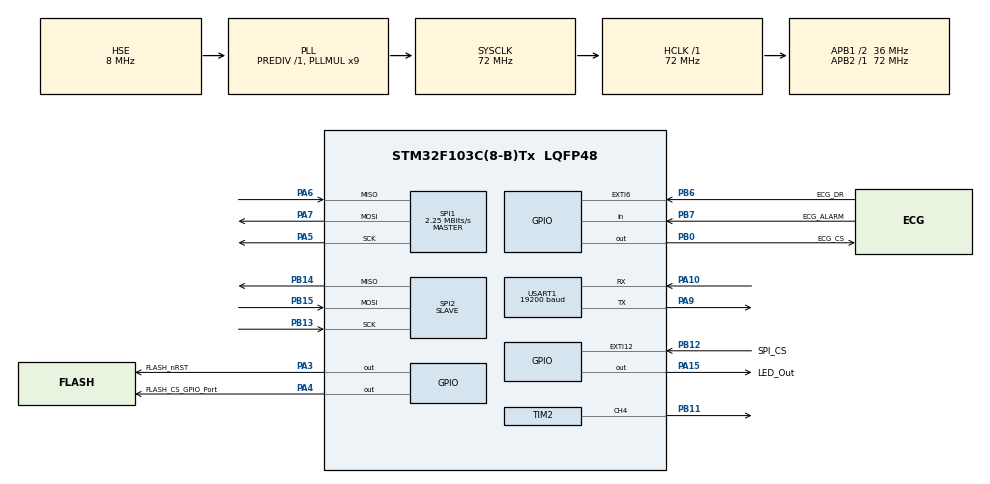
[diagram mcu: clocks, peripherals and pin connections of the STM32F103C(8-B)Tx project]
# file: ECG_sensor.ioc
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Mcu.Family=STM32F1
Mcu.Name=STM32F103C(8-B)Tx
Mcu.Package=LQFP48
NVIC.EXTI15_10_IRQn=true\:1\:0\:true\:false\:true\:true\:true\:true
NVIC.EXTI9_5_IRQn=true\:3\:0\:true\:false\:true\:true\:true\:true
NVIC.PriorityGroup=NVIC_PRIORITYGROUP_4
NVIC.SPI2_IRQn=true\:2\:0\:true\:false\:true\:true\:true\:true
NVIC.TIM3_IRQn=true\:3\:0\:true\:false\:true\:true\:true\:true
NVIC.USART1_IRQn=true\:4\:0\:true\:false\:true\:true\:true\:true
PA0-WKUP.Signal=S_TIM2_CH1_ETR
PA10.Mode=Asynchronous
PA10.Signal=USART1_RX
PA13.Mode=Serial_Wire
PA13.Signal=SYS_JTMS-SWDIO
PA14.Mode=Serial_Wire
PA14.Signal=SYS_JTCK-SWCLK
PA15.GPIO_Label=LED_Out
PA15.Signal=GPIO_Output
PA3.GPIO_Label=FLASH_nRST
PA3.Signal=GPIO_Output
PA4.GPIO_Label=FLASH_CS_GPIO_Port
PA4.Signal=GPIO_Output
PA5.Mode=Full_Duplex_Master
PA5.Signal=SPI1_SCK
PA6.Mode=Full_Duplex_Master
PA6.Signal=SPI1_MISO
PA7.Mode=Full_Duplex_Master
PA7.Signal=SPI1_MOSI
PA9.Mode=Asynchronous
PA9.Signal=USART1_TX
PB0.GPIO_Label=ECG_CS
PB0.Signal=GPIO_Output
PB11.Signal=S_TIM2_CH4
PB12.GPIO_Label=SPI_CS
PB12.GPIO_ModeDefaultEXTI=GPIO_MODE_IT_RISING_FALLING
PB12.Signal=GPXTI12
PB13.Mode=Full_Duplex_Slave
PB13.Signal=SPI2_SCK
PB14.Mode=Full_Duplex_Slave
PB14.Signal=SPI2_MISO
PB15.Mode=Full_Duplex_Slave
PB15.Signal=SPI2_MOSI
PB6.GPIO_Label=ECG_DR
PB6.GPIO_ModeDefaultEXTI=GPIO_MODE_IT_FALLING
PB6.GPIO_PuPd=GPIO_PULLUP
PB6.Signal=GPXTI6
PB7.GPIO_Label=ECG_ALARM
PB7.Signal=GPIO_Input
PD0-OSC_IN.Mode=HSE-External-Oscillator
PD0-OSC_IN.Signal=RCC_OSC_IN
PD1-OSC_OUT.Mode=HSE-External-Oscillator
PD1-OSC_OUT.Signal=RCC_OSC_OUT
ProjectManager.HeapSize=0x200
ProjectManager.StackSize=0x400
ProjectManager.TargetToolchain=STM32CubeIDE
RCC.ADCPresc=RCC_ADCPCLK2_DIV6
RCC.AHBFreq_Value=72000000
RCC.APB1CLKDivider=RCC_HCLK_DIV2
RCC.APB1Freq_Value=36000000
RCC.APB1TimFreq_Value=72000000
RCC.APB2Freq_Value=72000000
RCC.APB2TimFreq_Value=72000000
RCC.HCLKFreq_Value=72000000
RCC.PLLMUL=RCC_PLL_MUL9
RCC.PLLSourceVirtual=RCC_PLLSOURCE_HSE
RCC.SYSCLKFreq_VALUE=72000000
RCC.SYSCLKSource=RCC_SYSCLKSOURCE_PLLCLK
RCC.USBFreq_Value=72000000
SH.S_TIM2_CH1_ETR.0=TIM2_CH1
SH.S_TIM2_CH4.0=TIM2_CH4,PWM Generation4 CH4
SPI1.BaudRatePrescaler=SPI_BAUDRATEPRESCALER_32
SPI1.CLKPhase=SPI_PHASE_1EDGE
SPI1.CalculateBaudRate=2.25 MBits/s
SPI1.Direction=SPI_DIRECTION_2LINES
SPI1.Mode=SPI_MODE_MASTER
SPI1.VirtualType=VM_MASTER
SPI2.Direction=SPI_DIRECTION_2LINES
SPI2.Mode=SPI_MODE_SLAVE
SPI2.VirtualType=VM_SLAVE
TIM2.Channel-PWM\ Generation4\ CH4=TIM_CHANNEL_4
TIM2.OCPolarity_4=TIM_OCPOLARITY_LOW
TIM2.Period=501
TIM2.Prescaler=72
TIM2.Pulse-PWM\ Generation4\ CH4=1
TIM3.Period=5
TIM3.Prescaler=48000
TIM3.TIM_MasterOutputTrigger=TIM_TRGO_OC1
USART1.BaudRate=19200
USART1.VirtualMode=VM_ASYNC
VP_TIM2_VS_ClockSourceINT.Mode=Internal
VP_TIM2_VS_OPM.Mode=OPM_bit
VP_TIM3_VS_ClockSourceINT.Mode=Internal
board=custom

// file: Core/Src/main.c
/* USER CODE BEGIN Header */
/**
  ******************************************************************************
  * @file           : main.c
  * @brief          : Main program body
  ******************************************************************************
  * @attention
  *
  * Copyright (c) 2026 STMicroelectronics.
  * All rights reserved.
  *
  * This software is licensed under terms that can be found in the LICENSE file
  * in the root directory of this software component.
  * If no LICENSE file comes with this software, it is provided AS-IS.
  *
  ******************************************************************************
  */
/* USER CODE END Header */
#include "main.h"

/* USER CODE BEGIN Includes */
#include <stdio.h>
#include <string.h>
#include "ADS1293.h"
#include "w25q_spi.h"
#include "SPI_Connection.h"
#include "protocol_parser.h"
/* USER CODE END Includes */

/* USER CODE BEGIN PTD */
// ADS1293 Register Addresses
#define REG_CH_CNFG 0x2F
#define REG_DRDYB_SRC 0x27
#define REG_MASK_DRDYB 0x20
#define REG_DATA_LOOP 0x50
//simulator mode
//#define SDP_MODE 1
/* USER CODE END PTD */

/* USER CODE BEGIN PD */
uint32_t ADS1293_data;
int32_t ecgData;
uint8_t ECG_raw[9];
/* USER CODE END PD */

SPI_HandleTypeDef hspi1;
SPI_HandleTypeDef hspi2;

TIM_HandleTypeDef htim2;
TIM_HandleTypeDef htim3;

UART_HandleTypeDef huart1;

/* USER CODE BEGIN PV */
extern w25_info_t  w25_info;
uint8_t rx_buf[1025];
uint8_t tx_buf[10];
extern volatile uint16_t ADC_data;
volatile char need_save = 0; // 0-idle, 1-save data
volatile uint16_t buf_ptr = 0, page_ptr = 0;
uint8_t res_buf[256] = {0};
volatile char TIM3_Trig = 0;
uint8_t data_buf[256];
bool write_cycle_closed = 0;
bool reach_end_of_flash = 0; // флаг достижения конца флеш-памяти при чтении
uint8_t uart1_rx_buf[2] = {0};
bool uart1_rx_complete = 0;
/* USER CODE END PV */

void SystemClock_Config(void);
static void MX_GPIO_Init(void);
static void MX_SPI2_Init(void);
static void MX_USART1_UART_Init(void);
static void MX_SPI1_Init(void);
static void MX_TIM3_Init(void);
static void MX_TIM2_Init(void);

/* USER CODE BEGIN 0 */
volatile uint8_t dt1[10];

uint8_t* getECGdata(void)
{
	ECG_raw[2] = ads1293readdata(0x39); //ch1 LSB
	ECG_raw[1] = ads1293readdata(0x38); //ch1 MID
	ECG_raw[0] = ads1293readdata(0x37); //ch1 MSB

	ECG_raw[5] = ads1293readdata(0x3C); //ch2 LSB
	ECG_raw[4] = ads1293readdata(0x3B); //ch2 MID
	ECG_raw[3] = ads1293readdata(0x3A); //ch2 MSB

	  ECG_raw[8] = ads1293readdata(0x3F); //ch3 LSB
	  ECG_raw[7] = ads1293readdata(0x3E); //ch3 MID
	  ECG_raw[6] = ads1293readdata(0x3D); //ch3 MSB

	/*
  ECG_raw[2] = 0x5D;//ads1293readdata(0x37); //ch1 MSB
  ECG_raw[1] = 0x5F;//ads1293readdata(0x38); //ch1 MID
  ECG_raw[0] = 0xCD;//ads1293readdata(0x39); //ch1 LSB

  ECG_raw[5] = 0x7B;//ads1293readdata(0x3A); //ch2 MSB
  ECG_raw[4] = 0xE4;//ads1293readdata(0x3B); //ch2 MID
  ECG_raw[3] = 0x4D;//ads1293readdata(0x3C); //ch2 LSB

  ECG_raw[8] = 0x9A;//ads1293readdata(0x3D); //ch3 MSB
  ECG_raw[7] = 0x68;//ads1293readdata(0x3E); //ch3 MID
  ECG_raw[6] = 0xCD;//ads1293readdata(0x3F); //ch3 LSB
  */
  return ECG_raw;
}

void myDelay(void);

HAL_StatusTypeDef MY_HAL_TIM_OnePulse_Init(TIM_HandleTypeDef *htim, uint32_t OnePulseMode)
{
  /* Check the TIM handle allocation */
  if (htim == NULL)
  {
    return HAL_ERROR;
  }

  /* Check the parameters */
  assert_param(IS_TIM_INSTANCE(htim->Instance));
  assert_param(IS_TIM_COUNTER_MODE(htim->Init.CounterMode));
  assert_param(IS_TIM_CLOCKDIVISION_DIV(htim->Init.ClockDivision));
  assert_param(IS_TIM_OPM_MODE(OnePulseMode));
  assert_param(IS_TIM_AUTORELOAD_PRELOAD(htim->Init.AutoReloadPreload));

  if (htim->State == HAL_TIM_STATE_RESET)
  {
    /* Allocate lock resource and initialize it */
    htim->Lock = HAL_UNLOCKED;

#if (USE_HAL_TIM_REGISTER_CALLBACKS == 1)
    /* Reset interrupt callbacks to legacy weak callbacks */
    TIM_ResetCallback(htim);

    if (htim->OnePulse_MspInitCallback == NULL)
    {
      htim->OnePulse_MspInitCallback = HAL_TIM_OnePulse_MspInit;
    }
    /* Init the low level hardware : GPIO, CLOCK, NVIC */
    htim->OnePulse_MspInitCallback(htim);
#else
    /* Init the low level hardware : GPIO, CLOCK, NVIC and DMA */
    //HAL_TIM_OnePulse_MspInit(htim);
#endif /* USE_HAL_TIM_REGISTER_CALLBACKS */
  }

  /* Set the TIM state */
  htim->State = HAL_TIM_STATE_BUSY;

  /* Configure the Time base in the One Pulse Mode */
  TIM_Base_SetConfig(htim->Instance, &htim->Init);

  /* Reset the OPM Bit */
  htim->Instance->CR1 &= ~TIM_CR1_OPM;

  /* Configure the OPM Mode */
  htim->Instance->CR1 |= OnePulseMode;

  /* Initialize the DMA burst operation state */
  htim->DMABurstState = HAL_DMA_BURST_STATE_READY;

  /* Initialize the TIM channels state */
  TIM_CHANNEL_STATE_SET(htim, TIM_CHANNEL_1, HAL_TIM_CHANNEL_STATE_READY);
  TIM_CHANNEL_STATE_SET(htim, TIM_CHANNEL_2, HAL_TIM_CHANNEL_STATE_READY);
  TIM_CHANNEL_STATE_SET(htim, TIM_CHANNEL_4, HAL_TIM_CHANNEL_STATE_READY);
  TIM_CHANNEL_N_STATE_SET(htim, TIM_CHANNEL_1, HAL_TIM_CHANNEL_STATE_READY);
  TIM_CHANNEL_N_STATE_SET(htim, TIM_CHANNEL_2, HAL_TIM_CHANNEL_STATE_READY);
  TIM_CHANNEL_N_STATE_SET(htim, TIM_CHANNEL_4, HAL_TIM_CHANNEL_STATE_READY);

  /* Initialize the TIM state*/
  htim->State = HAL_TIM_STATE_READY;

  return HAL_OK;
}

HAL_StatusTypeDef MY_HAL_TIM_OnePulse_Start(TIM_HandleTypeDef *htim, uint32_t OutputChannel)
{
  HAL_TIM_ChannelStateTypeDef channel_1_state = TIM_CHANNEL_STATE_GET(htim, TIM_CHANNEL_1);
  HAL_TIM_ChannelStateTypeDef channel_2_state = TIM_CHANNEL_STATE_GET(htim, TIM_CHANNEL_2);
  HAL_TIM_ChannelStateTypeDef channel_4_state = TIM_CHANNEL_STATE_GET(htim, TIM_CHANNEL_4);
  HAL_TIM_ChannelStateTypeDef complementary_channel_1_state = TIM_CHANNEL_N_STATE_GET(htim, TIM_CHANNEL_1);
  HAL_TIM_ChannelStateTypeDef complementary_channel_2_state = TIM_CHANNEL_N_STATE_GET(htim, TIM_CHANNEL_2);
  HAL_TIM_ChannelStateTypeDef complementary_channel_4_state = TIM_CHANNEL_N_STATE_GET(htim, TIM_CHANNEL_4);
  /* Prevent unused argument(s) compilation warning */
  UNUSED(OutputChannel);

  /* Check the TIM channels state */
  if ((channel_1_state != HAL_TIM_CHANNEL_STATE_READY)
      || (channel_2_state != HAL_TIM_CHANNEL_STATE_READY)
      || (complementary_channel_1_state != HAL_TIM_CHANNEL_STATE_READY)
      || (complementary_channel_2_state != HAL_TIM_CHANNEL_STATE_READY))
  {
    return HAL_ERROR;
  }

  /* Set the TIM channels state */
  TIM_CHANNEL_STATE_SET(htim, TIM_CHANNEL_1, HAL_TIM_CHANNEL_STATE_BUSY);
  TIM_CHANNEL_STATE_SET(htim, TIM_CHANNEL_2, HAL_TIM_CHANNEL_STATE_BUSY);
  TIM_CHANNEL_STATE_SET(htim, TIM_CHANNEL_4, HAL_TIM_CHANNEL_STATE_BUSY);
  TIM_CHANNEL_N_STATE_SET(htim, TIM_CHANNEL_1, HAL_TIM_CHANNEL_STATE_BUSY);
  TIM_CHANNEL_N_STATE_SET(htim, TIM_CHANNEL_2, HAL_TIM_CHANNEL_STATE_BUSY);
  TIM_CHANNEL_N_STATE_SET(htim, TIM_CHANNEL_4, HAL_TIM_CHANNEL_STATE_BUSY);

  /* Enable the Capture compare and the Input Capture channels
    (in the OPM Mode the two possible channels that can be used are TIM_CHANNEL_1 and TIM_CHANNEL_2)
    if TIM_CHANNEL_1 is used as output, the TIM_CHANNEL_2 will be used as input and
    if TIM_CHANNEL_1 is used as input, the TIM_CHANNEL_2 will be used as output
    whatever the combination, the TIM_CHANNEL_1 and TIM_CHANNEL_2 should be enabled together

    No need to enable the counter, it's enabled automatically by hardware
    (the counter starts in response to a stimulus and generate a pulse */

  TIM_CCxChannelCmd(htim->Instance, TIM_CHANNEL_1, TIM_CCx_ENABLE);
  TIM_CCxChannelCmd(htim->Instance, TIM_CHANNEL_2, TIM_CCx_ENABLE);
  TIM_CCxChannelCmd(htim->Instance, TIM_CHANNEL_4, TIM_CCx_ENABLE);

  if (IS_TIM_BREAK_INSTANCE(htim->Instance) != RESET)
  {
    /* Enable the main output */
    __HAL_TIM_MOE_ENABLE(htim);
  }

  /* Return function status */
  return HAL_OK;
}

/* USER CODE END 0 */

int main(void)
{
  /* USER CODE BEGIN 1 */
	// for debugging
	char uart_mode = 0; //if 1, send data to uart instead of flash
  /* USER CODE END 1 */

  /* MCU Configuration--------------------------------------------------------*/

  /* Reset of all peripherals, Initializes the Flash interface and the Systick. */
  HAL_Init();

  /* Configure the system clock */
  SystemClock_Config();

  /* Initialize all configured peripherals */
  MX_GPIO_Init();
  MX_SPI2_Init();
  MX_USART1_UART_Init();
  MX_SPI1_Init();
  MX_TIM3_Init();
  MX_TIM2_Init();
  /* USER CODE BEGIN 2 */
  sensorInit();

  static uint8_t page_save_buf[256], page_save_buf_ptr = 0; //256 byte temp buf for flash page and ptr to its head
  HAL_UART_Receive_IT(&huart1, uart1_rx_buf, 1);
  /* USER CODE END 2 */

  /* Infinite loop */
  /* USER CODE BEGIN WHILE */
  while (1)
  {
/*
	  if (uart1_rx_complete) {
	  	uart1_rx_complete = 0;

	  	//MY_HAL_TIM_OnePulse_Start(&htim2, TIM_CHANNEL_4);
	  		// задержка для удержания линии в активном уровне

	  		//__HAL_TIM_ENABLE(&htim2);

	  	HAL_UART_Receive_IT(&huart1, uart1_rx_buf, 1);

	  } */

	  if (spi_rx_complete) {
		  spi_rx_complete = false;
		  parserFSM();
	  }

	 //commands

   //ECG MODULE
	if(TIM3_Trig == 1)
	{
	  TIM3_Trig = 0;
	  getECGdata();

	  if (need_save)
	  {
		//HAL_GPIO_WritePin(GPIOA, GPIO_PIN_15, GPIO_PIN_RESET);
		//HAL_GPIO_TogglePin(GPIOA, GPIO_PIN_15);

		for ( int i = 0; i < 9; i++) //copy data to buf
		{
		  page_save_buf[page_save_buf_ptr+i] = ECG_raw[i];
		}
		page_save_buf_ptr += 9; //add 9 written bytes
		if (page_save_buf_ptr >= 252) //buffer is full, saving to flash
		{
		  page_save_buf_ptr = 0;
		  HAL_GPIO_TogglePin(GPIOA, GPIO_PIN_15);
		  if (uart_mode == 1)
			HAL_UART_Transmit(&huart1, page_save_buf, 256, 300);
			//;
		  else
			W25_Write_Page(page_save_buf, page_ptr, 0, w25_info.PageSize); //programming flah
		  if(page_ptr == 65535) {
			  write_cycle_closed = 1;
			  need_save = 0;
		  } else {
			  page_ptr++; //inc page ptr
		  }

		}
	  }
	  else
	  {
		HAL_GPIO_WritePin(GPIOA, GPIO_PIN_15, GPIO_PIN_SET);
	  }
	}

	// проверка на то, что флеш-память была считана до конца и был отправлен последний кадр данных
	if (reach_end_of_flash && !response_ready) {
		// сброс признака чтения конца флеш-памяти
		reach_end_of_flash = 0;

		// сохранение последнего внутреннего состояния датчика
		setLastFSMProtocolState(getFSMProtocolState());
		// переход в состояние сброса флеш-памяти
		setFSMProtocolState(RESET_FLASH_STATE);

		// сброс указателя номера записываемой страницы флеш
		page_ptr = 0;

		// очистка флеш-памяти
		HAL_GPIO_WritePin(GPIOA, GPIO_PIN_15, GPIO_PIN_RESET);
		W25_Erase_Chip();

		// установка признака окончания стирания флеш-памяти (флаг проверяется в состоянии RESET_FLASH_STATE)
		reset_ready = 1;
	}

    /* USER CODE END WHILE */

  }
}

void SystemClock_Config(void)
{
  RCC_OscInitTypeDef RCC_OscInitStruct = {0};
  RCC_ClkInitTypeDef RCC_ClkInitStruct = {0};

  /** Initializes the RCC Oscillators according to the specified parameters
  * in the RCC_OscInitTypeDef structure.
  */
  RCC_OscInitStruct.OscillatorType = RCC_OSCILLATORTYPE_HSE;
  RCC_OscInitStruct.HSEState = RCC_HSE_ON;
  RCC_OscInitStruct.HSEPredivValue = RCC_HSE_PREDIV_DIV1;
  RCC_OscInitStruct.HSIState = RCC_HSI_ON;
  RCC_OscInitStruct.PLL.PLLState = RCC_PLL_ON;
  RCC_OscInitStruct.PLL.PLLSource = RCC_PLLSOURCE_HSE;
  RCC_OscInitStruct.PLL.PLLMUL = RCC_PLL_MUL9;
  if (HAL_RCC_OscConfig(&RCC_OscInitStruct) != HAL_OK)
  {
    Error_Handler();
  }

  /** Initializes the CPU, AHB and APB buses clocks
  */
  RCC_ClkInitStruct.ClockType = RCC_CLOCKTYPE_HCLK|RCC_CLOCKTYPE_SYSCLK
                              |RCC_CLOCKTYPE_PCLK1|RCC_CLOCKTYPE_PCLK2;
  RCC_ClkInitStruct.SYSCLKSource = RCC_SYSCLKSOURCE_PLLCLK;
  RCC_ClkInitStruct.AHBCLKDivider = RCC_SYSCLK_DIV1;
  RCC_ClkInitStruct.APB1CLKDivider = RCC_HCLK_DIV2;
  RCC_ClkInitStruct.APB2CLKDivider = RCC_HCLK_DIV1;

  if (HAL_RCC_ClockConfig(&RCC_ClkInitStruct, FLASH_LATENCY_2) != HAL_OK)
  {
    Error_Handler();
  }
}

static void MX_SPI1_Init(void)
{

  /* SPI1 parameter configuration*/
  hspi1.Instance = SPI1;
  hspi1.Init.Mode = SPI_MODE_MASTER;
  hspi1.Init.Direction = SPI_DIRECTION_2LINES;
  hspi1.Init.DataSize = SPI_DATASIZE_8BIT;
  hspi1.Init.CLKPolarity = SPI_POLARITY_LOW;
  hspi1.Init.CLKPhase = SPI_PHASE_1EDGE;
  hspi1.Init.NSS = SPI_NSS_SOFT;
  hspi1.Init.BaudRatePrescaler = SPI_BAUDRATEPRESCALER_32;
  hspi1.Init.FirstBit = SPI_FIRSTBIT_MSB;
  hspi1.Init.TIMode = SPI_TIMODE_DISABLE;
  hspi1.Init.CRCCalculation = SPI_CRCCALCULATION_DISABLE;
  hspi1.Init.CRCPolynomial = 10;
  if (HAL_SPI_Init(&hspi1) != HAL_OK)
  {
    Error_Handler();
  }

}

static void MX_SPI2_Init(void)
{

  /* SPI2 parameter configuration*/
  hspi2.Instance = SPI2;
  hspi2.Init.Mode = SPI_MODE_SLAVE;
  hspi2.Init.Direction = SPI_DIRECTION_2LINES;
  hspi2.Init.DataSize = SPI_DATASIZE_8BIT;
  hspi2.Init.CLKPolarity = SPI_POLARITY_LOW;
  hspi2.Init.CLKPhase = SPI_PHASE_1EDGE;
  hspi2.Init.NSS = SPI_NSS_SOFT;
  hspi2.Init.FirstBit = SPI_FIRSTBIT_MSB;
  hspi2.Init.TIMode = SPI_TIMODE_DISABLE;
  hspi2.Init.CRCCalculation = SPI_CRCCALCULATION_DISABLE;
  hspi2.Init.CRCPolynomial = 10;
  if (HAL_SPI_Init(&hspi2) != HAL_OK)
  {
    Error_Handler();
  }
  /* USER CODE BEGIN SPI2_Init 2 */
  __HAL_SPI_ENABLE_IT(&hspi2, SPI_IT_ERR);
  /* USER CODE END SPI2_Init 2 */

}

static void MX_TIM2_Init(void)
{

  TIM_ClockConfigTypeDef sClockSourceConfig = {0};
  TIM_MasterConfigTypeDef sMasterConfig = {0};
  TIM_OC_InitTypeDef sConfigOC = {0};

  htim2.Instance = TIM2;
  htim2.Init.Prescaler = 72;
  htim2.Init.CounterMode = TIM_COUNTERMODE_UP;
  htim2.Init.Period = 501;
  htim2.Init.ClockDivision = TIM_CLOCKDIVISION_DIV1;
  htim2.Init.AutoReloadPreload = TIM_AUTORELOAD_PRELOAD_DISABLE;
  if (HAL_TIM_Base_Init(&htim2) != HAL_OK)
  {
    Error_Handler();
  }
  sClockSourceConfig.ClockSource = TIM_CLOCKSOURCE_INTERNAL;
  if (HAL_TIM_ConfigClockSource(&htim2, &sClockSourceConfig) != HAL_OK)
  {
    Error_Handler();
  }
  if (HAL_TIM_PWM_Init(&htim2) != HAL_OK)
  {
    Error_Handler();
  }
  if (HAL_TIM_OnePulse_Init(&htim2, TIM_OPMODE_SINGLE) != HAL_OK)
  {
    Error_Handler();
  }
  sMasterConfig.MasterOutputTrigger = TIM_TRGO_RESET;
  sMasterConfig.MasterSlaveMode = TIM_MASTERSLAVEMODE_DISABLE;
  if (HAL_TIMEx_MasterConfigSynchronization(&htim2, &sMasterConfig) != HAL_OK)
  {
    Error_Handler();
  }
  sConfigOC.OCMode = TIM_OCMODE_PWM1;
  sConfigOC.Pulse = 1;
  sConfigOC.OCPolarity = TIM_OCPOLARITY_LOW;
  sConfigOC.OCFastMode = TIM_OCFAST_DISABLE;
  if (HAL_TIM_PWM_ConfigChannel(&htim2, &sConfigOC, TIM_CHANNEL_4) != HAL_OK)
  {
    Error_Handler();
  }
  /* USER CODE BEGIN TIM2_Init 2 */
  MY_HAL_TIM_OnePulse_Init(&htim2, TIM_OPMODE_SINGLE);
  /* USER CODE END TIM2_Init 2 */
  HAL_TIM_MspPostInit(&htim2);

}

static void MX_TIM3_Init(void)
{

  TIM_ClockConfigTypeDef sClockSourceConfig = {0};
  TIM_MasterConfigTypeDef sMasterConfig = {0};

  htim3.Instance = TIM3;
  htim3.Init.Prescaler = 48000;
  htim3.Init.CounterMode = TIM_COUNTERMODE_UP;
  htim3.Init.Period = 5;
  htim3.Init.ClockDivision = TIM_CLOCKDIVISION_DIV1;
  htim3.Init.AutoReloadPreload = TIM_AUTORELOAD_PRELOAD_DISABLE;
  if (HAL_TIM_Base_Init(&htim3) != HAL_OK)
  {
    Error_Handler();
  }
  sClockSourceConfig.ClockSource = TIM_CLOCKSOURCE_INTERNAL;
  if (HAL_TIM_ConfigClockSource(&htim3, &sClockSourceConfig) != HAL_OK)
  {
    Error_Handler();
  }
  sMasterConfig.MasterOutputTrigger = TIM_TRGO_OC1;
  sMasterConfig.MasterSlaveMode = TIM_MASTERSLAVEMODE_DISABLE;
  if (HAL_TIMEx_MasterConfigSynchronization(&htim3, &sMasterConfig) != HAL_OK)
  {
    Error_Handler();
  }

}

static void MX_USART1_UART_Init(void)
{

  huart1.Instance = USART1;
  huart1.Init.BaudRate = 19200;
  huart1.Init.WordLength = UART_WORDLENGTH_8B;
  huart1.Init.StopBits = UART_STOPBITS_1;
  huart1.Init.Parity = UART_PARITY_NONE;
  huart1.Init.Mode = UART_MODE_TX_RX;
  huart1.Init.HwFlowCtl = UART_HWCONTROL_NONE;
  huart1.Init.OverSampling = UART_OVERSAMPLING_16;
  if (HAL_UART_Init(&huart1) != HAL_OK)
  {
    Error_Handler();
  }

}

static void MX_GPIO_Init(void)
{
  GPIO_InitTypeDef GPIO_InitStruct = {0};

  /* GPIO Ports Clock Enable */
  __HAL_RCC_GPIOD_CLK_ENABLE();
  __HAL_RCC_GPIOA_CLK_ENABLE();
  __HAL_RCC_GPIOB_CLK_ENABLE();

  /*Configure GPIO pin Output Level */
  HAL_GPIO_WritePin(GPIOA, FLASH_nRST_Pin|FLASH_CS_GPIO_Port_Pin|LED_Out_Pin, GPIO_PIN_RESET);

  /*Configure GPIO pin Output Level */
  HAL_GPIO_WritePin(ECG_CS_GPIO_Port, ECG_CS_Pin, GPIO_PIN_RESET);

  /*Configure GPIO pins : FLASH_nRST_Pin FLASH_CS_GPIO_Port_Pin LED_Out_Pin */
  GPIO_InitStruct.Pin = FLASH_nRST_Pin|FLASH_CS_GPIO_Port_Pin|LED_Out_Pin;
  GPIO_InitStruct.Mode = GPIO_MODE_OUTPUT_PP;
  GPIO_InitStruct.Pull = GPIO_NOPULL;
  GPIO_InitStruct.Speed = GPIO_SPEED_FREQ_LOW;
  HAL_GPIO_Init(GPIOA, &GPIO_InitStruct);

  /*Configure GPIO pin : ECG_CS_Pin */
  GPIO_InitStruct.Pin = ECG_CS_Pin;
  GPIO_InitStruct.Mode = GPIO_MODE_OUTPUT_PP;
  GPIO_InitStruct.Pull = GPIO_NOPULL;
  GPIO_InitStruct.Speed = GPIO_SPEED_FREQ_LOW;
  HAL_GPIO_Init(ECG_CS_GPIO_Port, &GPIO_InitStruct);

  /*Configure GPIO pin : SPI_CS_Pin */
  GPIO_InitStruct.Pin = SPI_CS_Pin;
  GPIO_InitStruct.Mode = GPIO_MODE_IT_RISING_FALLING;
  GPIO_InitStruct.Pull = GPIO_NOPULL;
  HAL_GPIO_Init(SPI_CS_GPIO_Port, &GPIO_InitStruct);

  /*Configure GPIO pin : ECG_DR_Pin */
  GPIO_InitStruct.Pin = ECG_DR_Pin;
  GPIO_InitStruct.Mode = GPIO_MODE_IT_FALLING;
  GPIO_InitStruct.Pull = GPIO_PULLUP;
  HAL_GPIO_Init(ECG_DR_GPIO_Port, &GPIO_InitStruct);

  /*Configure GPIO pin : ECG_ALARM_Pin */
  GPIO_InitStruct.Pin = ECG_ALARM_Pin;
  GPIO_InitStruct.Mode = GPIO_MODE_INPUT;
  GPIO_InitStruct.Pull = GPIO_NOPULL;
  HAL_GPIO_Init(ECG_ALARM_GPIO_Port, &GPIO_InitStruct);

  /* EXTI interrupt init*/
  HAL_NVIC_SetPriority(EXTI9_5_IRQn, 3, 0);
  HAL_NVIC_EnableIRQ(EXTI9_5_IRQn);

  HAL_NVIC_SetPriority(EXTI15_10_IRQn, 1, 0);
  HAL_NVIC_EnableIRQ(EXTI15_10_IRQn);

}

/* USER CODE BEGIN 4 */

void HAL_SPI_ErrorCallback(SPI_HandleTypeDef *hspi) {

    if (hspi->Instance == SPI2) {
    	HAL_SPI_DeInit(&hspi2);
    	HAL_Delay(1);
    	HAL_SPI_Init(&hspi2);

    	resetSPIConnection();
    }
}

/* USER CODE END 4 */

void Error_Handler(void)
{
  __disable_irq();
  while (1)
  {
  }
}
